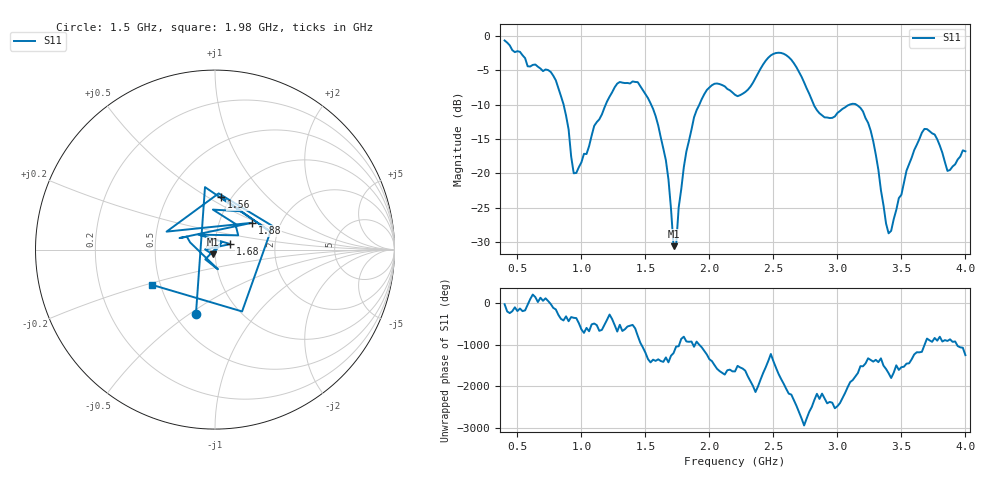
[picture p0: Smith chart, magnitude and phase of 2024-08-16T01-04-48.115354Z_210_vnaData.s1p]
!Created with skrf (http://scikit-rf.org).
# Hz S RI R 50.0
!freq ReS11 ImS11
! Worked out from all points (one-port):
!   181 points, 400 MHz to 4 GHz, reference 50 ohm
!   lowest |S11| = -30.6 dB at 1.72 GHz (marker M1), VSWR 1.06, Z = 48.6 - j2.57 ohm
!   |S11| at or under -10 dB: 860.7 MHz to 1.19 GHz (329.3 MHz wide, 32.1 % of centre); 1.545 GHz to 1.922 GHz (376.9 MHz wide, 21.7 % of centre); 3.147 GHz to end of sweep (the widest 3 of 4)
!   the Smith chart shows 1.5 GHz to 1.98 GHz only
!   S11 on the Smith chart (normalised r, x): 1.5 GHz: 0.63, -0.53; 1.56 GHz: 0.89, +0.57; 1.68 GHz: 1.18, +0.07; 1.88 GHz: 1.44, +0.46; 1.98 GHz: 0.45, -0.21
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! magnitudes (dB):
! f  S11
! 400 MHz  -0.7
! 580 MHz  -4.4
! 760 MHz  -5.3
! 860 MHz  -9.9
! 940 MHz  -20.0
! 960 MHz  -19.9
! 1.3 GHz  -6.7
! 1.5 GHz  -8.5
! 1.56 GHz  -10.6
! 1.68 GHz  -20.8
! 1.72 GHz  -30.6
! 1.74 GHz  -30.5
! 1.76 GHz  -24.9
! 1.82 GHz  -16.8
! 1.88 GHz  -11.8
! 1.98 GHz  -7.9
! 2.2 GHz  -8.6
! 2.5 GHz  -2.6
! 2.66 GHz  -4.0
! 2.9 GHz  -11.9
! 3.1 GHz  -10.0
! 3.26 GHz  -13.8
! 3.4 GHz  -28.7
! 3.56 GHz  -18.7
! 3.68 GHz  -13.5
! 3.76 GHz  -14.3
! 3.86 GHz  -19.6
! 4 GHz  -16.8
